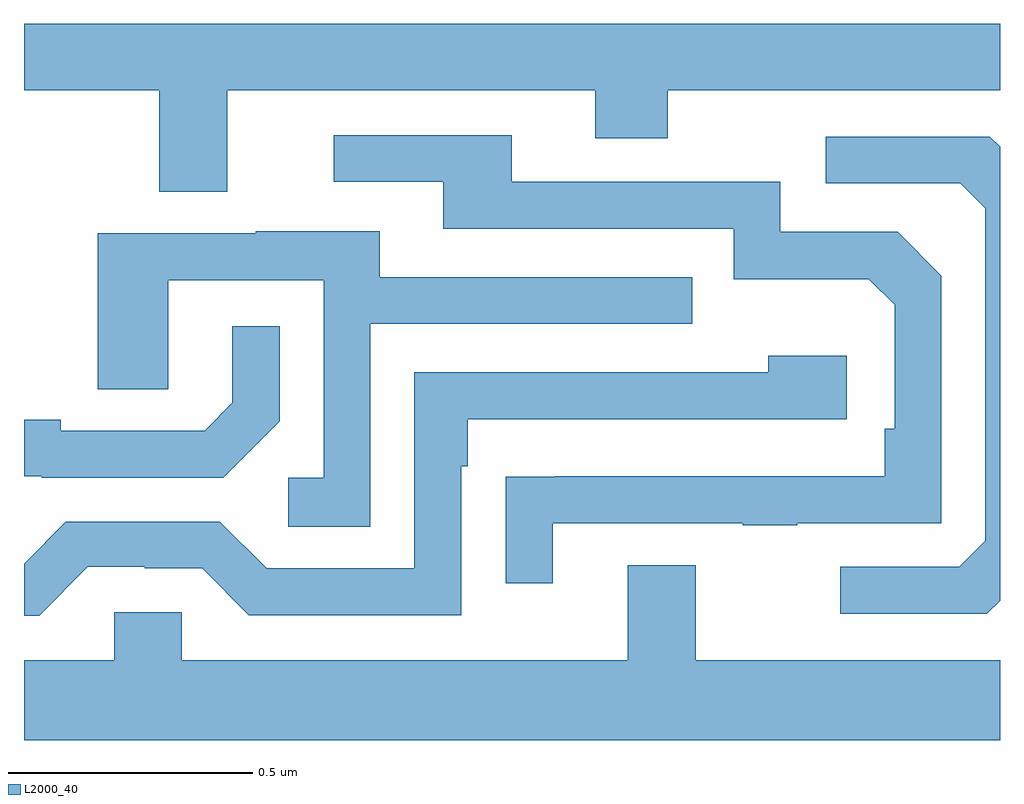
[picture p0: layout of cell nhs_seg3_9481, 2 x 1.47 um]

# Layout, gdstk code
import gdstk
lib = gdstk.Library(unit=1e-6, precision=1e-09)
def P(c, l, *ps):  # polygons
    for p in ps: c.add(gdstk.Polygon(p, *l))
L2000_40 = (2000, 40)

nhs_seg3_9481 = lib.new_cell('nhs_seg3_9481')
P(nhs_seg3_9481, L2000_40, [(229.417,686.264),(230.171,686.264),(230.171,686.165),(230.319,686.165),(230.319,686.264),(231,686.264),(231,686.4),(229,686.4),(229,686.264),(229.277,686.264),(229.277,686.056),(229.417,686.056)],
  [(230.083,685.377),(230.473,685.377),(230.473,685.372),(230.585,685.372),(230.585,685.377),(230.88,685.377),(230.88,685.884),(230.79,685.974),(230.55,685.974),(230.55,686.076),(229.999,686.076),(229.999,686.172),(229.635,686.172),(229.635,686.076),(229.859,686.076),(229.859,685.98),(230.454,685.98),(230.454,685.877),(230.731,685.877),(230.784,685.824),(230.784,685.57),(230.764,685.57),(230.764,685.473),(230.089,685.473),(230.089,685.472),(229.987,685.472),(229.987,685.254),(230.083,685.254)],
  [(231,685.218),(231,686.148),(230.979,686.169),(230.643,686.169),(230.643,686.073),(230.919,686.073),(230.97,686.022),(230.97,685.341),(230.916,685.287),(230.673,685.287),(230.673,685.191),(230.973,685.191)],
  [(229.71,685.785),(230.369,685.785),(230.369,685.881),(229.729,685.881),(229.729,685.975),(229.475,685.975),(229.475,685.971),(229.151,685.971),(229.151,685.651),(229.296,685.651),(229.296,685.875),(229.614,685.875),(229.614,685.47),(229.542,685.47),(229.542,685.369),(229.71,685.369)],
  [(229.524,685.586),(229.524,685.78),(229.427,685.78),(229.427,685.623),(229.37,685.566),(229.075,685.566),(229.075,685.589),(229,685.589),(229,685.473),(229.036,685.473),(229.036,685.47),(229.408,685.47)],
  [(229.131,685.287),(229.247,685.287),(229.247,685.284),(229.365,685.284),(229.461,685.188),(229.896,685.188),(229.896,685.493),(229.909,685.493),(229.909,685.59),(230.686,685.59),(230.686,685.72),(230.525,685.72),(230.525,685.686),(229.8,685.686),(229.8,685.284),(229.497,685.284),(229.401,685.38),(229.086,685.38),(229,685.294),(229,685.187),(229.031,685.187)],
  [(231,685.096),(230.377,685.096),(230.377,685.291),(230.237,685.291),(230.237,685.096),(229.323,685.096),(229.323,685.194),(229.185,685.194),(229.185,685.096),(229,685.096),(229,684.932),(231,684.932)])

lib.write_gds('nhs_seg3_9481.gds')
